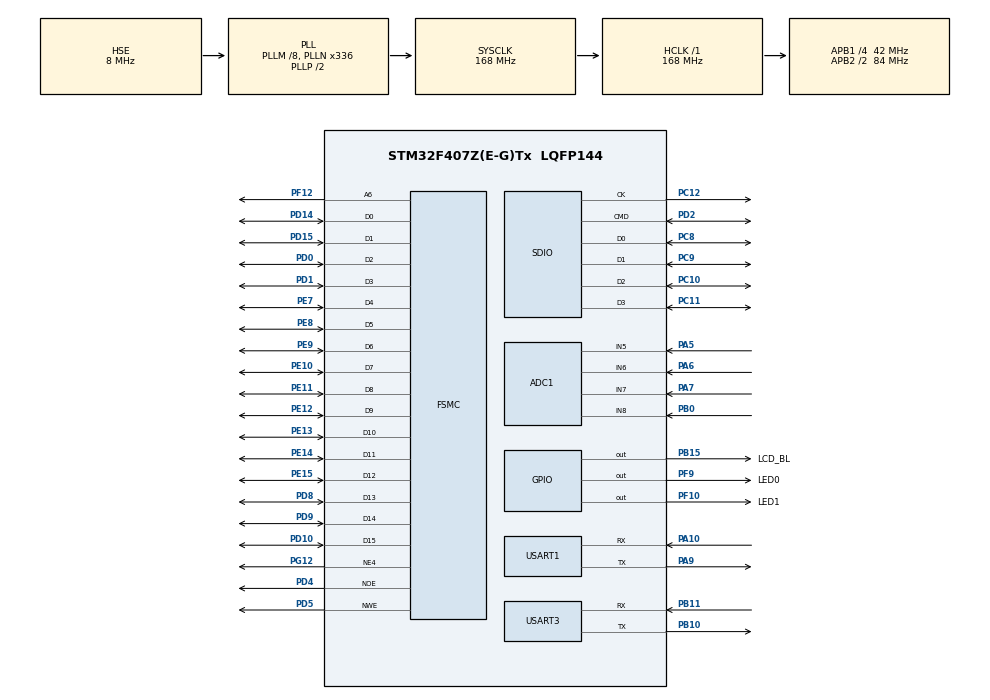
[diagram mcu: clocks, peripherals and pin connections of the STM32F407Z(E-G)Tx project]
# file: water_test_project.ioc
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ADC1.Channel-0\#ChannelRegularConversion=ADC_CHANNEL_5
ADC1.Channel-1\#ChannelRegularConversion=ADC_CHANNEL_6
ADC1.Channel-2\#ChannelRegularConversion=ADC_CHANNEL_7
ADC1.Channel-3\#ChannelRegularConversion=ADC_CHANNEL_8
ADC1.DMAContinuousRequests=ENABLE
ADC1.EOCSelection=ADC_EOC_SEQ_CONV
ADC1.ExternalTrigConv=ADC_EXTERNALTRIGCONV_T3_TRGO
ADC1.NbrOfConversion=4
ADC1.NbrOfConversionFlag=1
ADC1.Rank-0\#ChannelRegularConversion=1
ADC1.Rank-1\#ChannelRegularConversion=2
ADC1.Rank-2\#ChannelRegularConversion=3
ADC1.Rank-3\#ChannelRegularConversion=4
ADC1.SamplingTime-0\#ChannelRegularConversion=ADC_SAMPLETIME_15CYCLES
ADC1.SamplingTime-1\#ChannelRegularConversion=ADC_SAMPLETIME_15CYCLES
ADC1.SamplingTime-2\#ChannelRegularConversion=ADC_SAMPLETIME_15CYCLES
ADC1.SamplingTime-3\#ChannelRegularConversion=ADC_SAMPLETIME_15CYCLES
ADC1.ScanConvMode=ENABLE
ADC1.master=1
Dma.ADC1.0.Direction=DMA_PERIPH_TO_MEMORY
Dma.ADC1.0.FIFOMode=DMA_FIFOMODE_DISABLE
Dma.ADC1.0.Instance=DMA2_Stream0
Dma.ADC1.0.MemDataAlignment=DMA_MDATAALIGN_HALFWORD
Dma.ADC1.0.MemInc=DMA_MINC_ENABLE
Dma.ADC1.0.Mode=DMA_CIRCULAR
Dma.ADC1.0.PeriphDataAlignment=DMA_PDATAALIGN_HALFWORD
Dma.ADC1.0.PeriphInc=DMA_PINC_DISABLE
Dma.ADC1.0.Priority=DMA_PRIORITY_MEDIUM
Dma.Request0=ADC1
Dma.Request1=USART3_TX
Dma.Request2=USART3_RX
Dma.Request3=SDIO_RX
Dma.Request4=SDIO_TX
Dma.SDIO_RX.3.Direction=DMA_PERIPH_TO_MEMORY
Dma.SDIO_RX.3.FIFOMode=DMA_FIFOMODE_ENABLE
Dma.SDIO_RX.3.FIFOThreshold=DMA_FIFO_THRESHOLD_FULL
Dma.SDIO_RX.3.Instance=DMA2_Stream3
Dma.SDIO_RX.3.MemBurst=DMA_MBURST_INC4
Dma.SDIO_RX.3.MemDataAlignment=DMA_MDATAALIGN_WORD
Dma.SDIO_RX.3.MemInc=DMA_MINC_ENABLE
Dma.SDIO_RX.3.Mode=DMA_PFCTRL
Dma.SDIO_RX.3.PeriphBurst=DMA_PBURST_INC4
Dma.SDIO_RX.3.PeriphDataAlignment=DMA_PDATAALIGN_WORD
Dma.SDIO_RX.3.PeriphInc=DMA_PINC_DISABLE
Dma.SDIO_RX.3.Priority=DMA_PRIORITY_LOW
Dma.SDIO_TX.4.Direction=DMA_MEMORY_TO_PERIPH
Dma.SDIO_TX.4.FIFOMode=DMA_FIFOMODE_ENABLE
Dma.SDIO_TX.4.FIFOThreshold=DMA_FIFO_THRESHOLD_FULL
Dma.SDIO_TX.4.Instance=DMA2_Stream6
Dma.SDIO_TX.4.MemBurst=DMA_MBURST_INC4
Dma.SDIO_TX.4.MemDataAlignment=DMA_MDATAALIGN_WORD
Dma.SDIO_TX.4.MemInc=DMA_MINC_ENABLE
Dma.SDIO_TX.4.Mode=DMA_PFCTRL
Dma.SDIO_TX.4.PeriphBurst=DMA_PBURST_INC4
Dma.SDIO_TX.4.PeriphDataAlignment=DMA_PDATAALIGN_WORD
Dma.SDIO_TX.4.PeriphInc=DMA_PINC_DISABLE
Dma.SDIO_TX.4.Priority=DMA_PRIORITY_LOW
Dma.USART3_RX.2.Direction=DMA_PERIPH_TO_MEMORY
Dma.USART3_RX.2.FIFOMode=DMA_FIFOMODE_DISABLE
Dma.USART3_RX.2.Instance=DMA1_Stream1
Dma.USART3_RX.2.MemDataAlignment=DMA_MDATAALIGN_BYTE
Dma.USART3_RX.2.MemInc=DMA_MINC_ENABLE
Dma.USART3_RX.2.Mode=DMA_NORMAL
Dma.USART3_RX.2.PeriphDataAlignment=DMA_PDATAALIGN_BYTE
Dma.USART3_RX.2.PeriphInc=DMA_PINC_DISABLE
Dma.USART3_RX.2.Priority=DMA_PRIORITY_MEDIUM
Dma.USART3_TX.1.Direction=DMA_MEMORY_TO_PERIPH
Dma.USART3_TX.1.FIFOMode=DMA_FIFOMODE_DISABLE
Dma.USART3_TX.1.Instance=DMA1_Stream3
Dma.USART3_TX.1.MemDataAlignment=DMA_MDATAALIGN_BYTE
Dma.USART3_TX.1.MemInc=DMA_MINC_ENABLE
Dma.USART3_TX.1.Mode=DMA_NORMAL
Dma.USART3_TX.1.PeriphDataAlignment=DMA_PDATAALIGN_BYTE
Dma.USART3_TX.1.PeriphInc=DMA_PINC_DISABLE
Dma.USART3_TX.1.Priority=DMA_PRIORITY_MEDIUM
FATFS._CODE_PAGE=936
FATFS._FS_EXFAT=1
FATFS._USE_LFN=2
FREERTOS.Tasks01=taskLED,24,128,appTaskLED,Default,NULL,Dynamic,NULL,NULL;taskADC,40,512,appTaskADC,Default,NULL,Dynamic,NULL,NULL;taskAdcDataProc,39,512,appTaskAdcDataProc,Default,NULL,Dynamic,NULL,NULL;taskDisplay,38,512,appTaskDisplay,Default,NULL,Dynamic,NULL,NULL
FSMC.AddressSetupTime1=0x0F
FSMC.BusTurnAroundDuration1=0
FSMC.DataSetupTime1=60
FSMC.ExtendedAddressSetupTime1=9
FSMC.ExtendedBusTurnAroundDuration1=0
FSMC.ExtendedDataSetupTime1=9
FSMC.ExtendedMode1=FSMC_EXTENDED_MODE_ENABLE
Mcu.Family=STM32F4
Mcu.Name=STM32F407Z(E-G)Tx
Mcu.Package=LQFP144
NVIC.DMA1_Stream1_IRQn=true\:5\:0\:false\:false\:true\:true\:false\:true\:true
NVIC.DMA1_Stream3_IRQn=true\:5\:0\:false\:false\:true\:true\:false\:true\:true
NVIC.DMA2_Stream0_IRQn=true\:5\:0\:false\:false\:true\:true\:false\:true\:true
NVIC.DMA2_Stream3_IRQn=true\:5\:0\:true\:false\:true\:true\:false\:true\:true
NVIC.DMA2_Stream6_IRQn=true\:5\:0\:true\:false\:true\:true\:false\:true\:true
NVIC.PriorityGroup=NVIC_PRIORITYGROUP_4
NVIC.SDIO_IRQn=true\:5\:0\:false\:false\:true\:true\:true\:true\:true
NVIC.TIM6_DAC_IRQn=true\:15\:0\:false\:false\:true\:false\:false\:true\:true
NVIC.TimeBase=TIM6_DAC_IRQn
NVIC.TimeBaseIP=TIM6
NVIC.USART3_IRQn=true\:5\:0\:false\:false\:true\:true\:true\:true\:true
PA10.Mode=Asynchronous
PA10.Signal=USART1_RX
PA13.Mode=Serial_Wire
PA13.Signal=SYS_JTMS-SWDIO
PA14.Mode=Serial_Wire
PA14.Signal=SYS_JTCK-SWCLK
PA5.Signal=ADCx_IN5
PA6.Signal=ADCx_IN6
PA7.Signal=ADCx_IN7
PA9.Mode=Asynchronous
PA9.Signal=USART1_TX
PB0.Signal=ADCx_IN8
PB10.Mode=Asynchronous
PB10.Signal=USART3_TX
PB11.Mode=Asynchronous
PB11.Signal=USART3_RX
PB15.GPIO_Label=LCD_BL
PB15.Signal=GPIO_Output
PC10.Mode=SD_4_bits_Wide_bus
PC10.Signal=SDIO_D2
PC11.Mode=SD_4_bits_Wide_bus
PC11.Signal=SDIO_D3
PC12.Mode=SD_4_bits_Wide_bus
PC12.Signal=SDIO_CK
PC8.Mode=SD_4_bits_Wide_bus
PC8.Signal=SDIO_D0
PC9.Mode=SD_4_bits_Wide_bus
PC9.Signal=SDIO_D1
PD0.Signal=FSMC_D2_DA2
PD1.Signal=FSMC_D3_DA3
PD10.Signal=FSMC_D15_DA15
PD14.Signal=FSMC_D0_DA0
PD15.Signal=FSMC_D1_DA1
PD2.Mode=SD_4_bits_Wide_bus
PD2.Signal=SDIO_CMD
PD4.Signal=FSMC_NOE
PD5.Signal=FSMC_NWE
PD8.Signal=FSMC_D13_DA13
PD9.Signal=FSMC_D14_DA14
PE10.Signal=FSMC_D7_DA7
PE11.Signal=FSMC_D8_DA8
PE12.Signal=FSMC_D9_DA9
PE13.Signal=FSMC_D10_DA10
PE14.Signal=FSMC_D11_DA11
PE15.Signal=FSMC_D12_DA12
PE7.Signal=FSMC_D4_DA4
PE8.Signal=FSMC_D5_DA5
PE9.Signal=FSMC_D6_DA6
PF10.GPIO_Label=LED1
PF10.PinState=GPIO_PIN_SET
PF10.Signal=GPIO_Output
PF12.Signal=FSMC_A6
PF9.GPIO_Label=LED0
PF9.PinState=GPIO_PIN_SET
PF9.Signal=GPIO_Output
PG12.Mode=NorPsramChipSelect4_1
PG12.Signal=FSMC_NE4
PH0-OSC_IN.Mode=HSE-External-Oscillator
PH0-OSC_IN.Signal=RCC_OSC_IN
PH1-OSC_OUT.Mode=HSE-External-Oscillator
PH1-OSC_OUT.Signal=RCC_OSC_OUT
ProjectManager.HeapSize=0x1200
ProjectManager.StackSize=0x1400
ProjectManager.TargetToolchain=MDK-ARM V5.32
RCC.48MHZClocksFreq_Value=48000000
RCC.AHBFreq_Value=168000000
RCC.APB1CLKDivider=RCC_HCLK_DIV4
RCC.APB1Freq_Value=42000000
RCC.APB1TimFreq_Value=84000000
RCC.APB2CLKDivider=RCC_HCLK_DIV2
RCC.APB2Freq_Value=84000000
RCC.APB2TimFreq_Value=168000000
RCC.CortexFreq_Value=168000000
RCC.HCLKFreq_Value=168000000
RCC.HSE_VALUE=8000000
RCC.HSI_VALUE=16000000
RCC.LSE_VALUE=32768
RCC.PLLM=8
RCC.PLLN=336
RCC.PLLQ=7
RCC.PLLSourceVirtual=RCC_PLLSOURCE_HSE
RCC.RCC_RTC_Clock_SourceVirtual=RCC_RTCCLKSOURCE_HSE_DIV8
RCC.RCC_RTC_Clock_Source_FROM_HSE=RCC_RTCCLKSOURCE_HSE_DIV8
RCC.SYSCLKFreq_VALUE=168000000
RCC.SYSCLKSource=RCC_SYSCLKSOURCE_PLLCLK
RCC.VCOOutputFreq_Value=336000000
SH.ADCx_IN5.0=ADC1_IN5,IN5
SH.ADCx_IN6.0=ADC1_IN6,IN6
SH.ADCx_IN7.0=ADC1_IN7,IN7
SH.ADCx_IN8.0=ADC1_IN8,IN8
SH.FSMC_A6.0=FSMC_A6,A6_1
SH.FSMC_D0_DA0.0=FSMC_D0,16b-d1
SH.FSMC_D10_DA10.0=FSMC_D10,16b-d1
SH.FSMC_D11_DA11.0=FSMC_D11,16b-d1
SH.FSMC_D12_DA12.0=FSMC_D12,16b-d1
SH.FSMC_D13_DA13.0=FSMC_D13,16b-d1
SH.FSMC_D14_DA14.0=FSMC_D14,16b-d1
SH.FSMC_D15_DA15.0=FSMC_D15,16b-d1
SH.FSMC_D1_DA1.0=FSMC_D1,16b-d1
SH.FSMC_D2_DA2.0=FSMC_D2,16b-d1
SH.FSMC_D3_DA3.0=FSMC_D3,16b-d1
SH.FSMC_D4_DA4.0=FSMC_D4,16b-d1
SH.FSMC_D5_DA5.0=FSMC_D5,16b-d1
SH.FSMC_D6_DA6.0=FSMC_D6,16b-d1
SH.FSMC_D7_DA7.0=FSMC_D7,16b-d1
SH.FSMC_D8_DA8.0=FSMC_D8,16b-d1
SH.FSMC_D9_DA9.0=FSMC_D9,16b-d1
SH.FSMC_NOE.0=FSMC_NOE,Lcd1
SH.FSMC_NWE.0=FSMC_NWE,Lcd1
TIM3.Period=999
TIM3.Prescaler=8399
TIM3.TIM_MasterOutputTrigger=TIM_TRGO_UPDATE
USART1.VirtualMode=VM_ASYNC
USART3.VirtualMode=VM_ASYNC
VP_FATFS_VS_SDIO.Mode=SDIO
VP_FREERTOS_VS_CMSIS_V2.Mode=CMSIS_V2
VP_SYS_VS_tim6.Mode=TIM6
VP_TIM3_VS_ClockSourceINT.Mode=Internal
board=custom

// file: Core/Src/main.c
/* USER CODE BEGIN Header */
/**
 ******************************************************************************
 * @file           : main.c
 * @brief          : Main program body
 ******************************************************************************
 * @attention
 *
 * Copyright (c) 2026 STMicroelectronics.
 * All rights reserved.
 *
 * This software is licensed under terms that can be found in the LICENSE file
 * in the root directory of this software component.
 * If no LICENSE file comes with this software, it is provided AS-IS.
 *
 ******************************************************************************
 */
/* USER CODE END Header */
#include "main.h"
#include "cmsis_os.h"
#include "adc.h"
#include "dma.h"
#include "fatfs.h"
#include "sdio.h"
#include "tim.h"
#include "usart.h"
#include "gpio.h"
#include "fsmc.h"

/* USER CODE BEGIN Includes */
#include "stdio.h"
#include "led.h"
#include "task.h"
#include "lcd.h"
#include "adc_ui.h"
#include "24cxx.h"
#include "queue.h"
#include "semphr.h"
#include "screenTxTask.h"
#include "screenRxTask.h"
#include <string.h>
#include "key.h"
/* USER CODE END Includes */

void SystemClock_Config(void);
void MX_FREERTOS_Init(void);

/* USER CODE BEGIN 0 */
int fputc(int ch, FILE *f)
{
    HAL_UART_Transmit(&huart1, (uint8_t *)&ch, 1, HAL_MAX_DELAY);
    return ch;
}

uint8_t key;

/* USER CODE END 0 */

int main(void)
{

  /* MCU Configuration--------------------------------------------------------*/

  /* Reset of all peripherals, Initializes the Flash interface and the Systick. */
  HAL_Init();

  /* Configure the system clock */
  SystemClock_Config();

  /* Initialize all configured peripherals */

    MX_GPIO_Init();
    MX_DMA_Init();
    MX_USART1_UART_Init();
	MX_TIM3_Init();
	MX_ADC1_Init();
    MX_FSMC_Init();
	MX_USART3_UART_Init();
	MX_SDIO_SD_Init();
	MX_FATFS_Init();

  /* Init scheduler */
  osKernelInitialize();
  MX_FREERTOS_Init();

  /* Start scheduler */
  osKernelStart();

  /* We should never get here as control is now taken by the scheduler */

  /* Infinite loop */
  /* USER CODE BEGIN WHILE */
    while (1)
    {
    }
  /* USER CODE END 3 */
}

void SystemClock_Config(void)
{
  RCC_OscInitTypeDef RCC_OscInitStruct = {0};
  RCC_ClkInitTypeDef RCC_ClkInitStruct = {0};

  /** Configure the main internal regulator output voltage
  */
  __HAL_RCC_PWR_CLK_ENABLE();
  __HAL_PWR_VOLTAGESCALING_CONFIG(PWR_REGULATOR_VOLTAGE_SCALE1);

  /** Initializes the RCC Oscillators according to the specified parameters
  * in the RCC_OscInitTypeDef structure.
  */
  RCC_OscInitStruct.OscillatorType = RCC_OSCILLATORTYPE_HSE;
  RCC_OscInitStruct.HSEState = RCC_HSE_ON;
  RCC_OscInitStruct.PLL.PLLState = RCC_PLL_ON;
  RCC_OscInitStruct.PLL.PLLSource = RCC_PLLSOURCE_HSE;
  RCC_OscInitStruct.PLL.PLLM = 8;
  RCC_OscInitStruct.PLL.PLLN = 336;
  RCC_OscInitStruct.PLL.PLLP = RCC_PLLP_DIV2;
  RCC_OscInitStruct.PLL.PLLQ = 7;
  if (HAL_RCC_OscConfig(&RCC_OscInitStruct) != HAL_OK)
  {
    Error_Handler();
  }

  /** Initializes the CPU, AHB and APB buses clocks
  */
  RCC_ClkInitStruct.ClockType = RCC_CLOCKTYPE_HCLK|RCC_CLOCKTYPE_SYSCLK
                              |RCC_CLOCKTYPE_PCLK1|RCC_CLOCKTYPE_PCLK2;
  RCC_ClkInitStruct.SYSCLKSource = RCC_SYSCLKSOURCE_PLLCLK;
  RCC_ClkInitStruct.AHBCLKDivider = RCC_SYSCLK_DIV1;
  RCC_ClkInitStruct.APB1CLKDivider = RCC_HCLK_DIV4;
  RCC_ClkInitStruct.APB2CLKDivider = RCC_HCLK_DIV2;

  if (HAL_RCC_ClockConfig(&RCC_ClkInitStruct, FLASH_LATENCY_5) != HAL_OK)
  {
    Error_Handler();
  }
}

/* USER CODE BEGIN 4 */
/* Conversion Complete Callback 转换完成回调*/
void HAL_ADC_ConvCpltCallback(ADC_HandleTypeDef *hadc)
{
    BaseType_t xHigherPriorityTaskWoken = pdFALSE;

    if (hadc->Instance == ADC1)
    {
        vTaskNotifyGiveFromISR(xMyAdcTaskHandle, &xHigherPriorityTaskWoken);
        portYIELD_FROM_ISR(xHigherPriorityTaskWoken);
    }
}

void HAL_UART_TxCpltCallback(UART_HandleTypeDef *huart)
{
    BaseType_t xHigherPriorityTaskWoken = pdFALSE;

    if (huart->Instance == USART3)
    {
        // 这个信号量在释放前，一定要先存在，建立
        if (screenTxDoneSem != NULL)
        {
            // 在中断上下文中释放信号量，必须需要+ISR后缀的函数
            xSemaphoreGiveFromISR(screenTxDoneSem, &xHigherPriorityTaskWoken);
            // 如果刚才释放信号量唤醒了一个更高优先级的任务，就立刻请求一次任务切换，切换中更高级的任务
            portYIELD_FROM_ISR(xHigherPriorityTaskWoken);
        }
    }
}

void HAL_UARTEx_RxEventCallback(UART_HandleTypeDef *huart, uint16_t Size)
{
    BaseType_t xHigherPriorityTaskWoken = pdFALSE;

    if (huart->Instance == USART3)
    {
        ScreenRxMsg_t msg;

        /*限制最大的接收长度，防止溢出报错*/
        if (Size > SCREEN_RX_DMA_SIZE)
        {
            Size = SCREEN_RX_DMA_SIZE;
        }

        /*复制缓存区的数据到msg结构体*/
        memcpy(msg.data, screenRxDmaBuf, Size);
        msg.len = Size;

        /*发给接收队列*/
        xQueueSendFromISR(screenRxQueue,
                          &msg,
                          &xHigherPriorityTaskWoken);

        /*重新启动下一次 DMA + IDLE 接收*/
        HAL_UARTEx_ReceiveToIdle_DMA(&huart3,
                                     screenRxDmaBuf,
                                     SCREEN_RX_DMA_SIZE);

        __HAL_DMA_DISABLE_IT(huart3.hdmarx, DMA_IT_HT);

        /*切换中断上下文*/
        portYIELD_FROM_ISR(xHigherPriorityTaskWoken);
    }
}
/* USER CODE END 4 */

void HAL_TIM_PeriodElapsedCallback(TIM_HandleTypeDef *htim)
{
  if (htim->Instance == TIM6)
  {
    HAL_IncTick();
  }
}

void Error_Handler(void)
{
    __disable_irq();
    while (1)
    {
    }
}

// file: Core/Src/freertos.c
/* USER CODE BEGIN Header */
/**
 ******************************************************************************
 * File Name          : freertos.c
 * Description        : Code for freertos applications
 ******************************************************************************
 * @attention
 *
 * Copyright (c) 2026 STMicroelectronics.
 * All rights reserved.
 *
 * This software is licensed under terms that can be found in the LICENSE file
 * in the root directory of this software component.
 * If no LICENSE file comes with this software, it is provided AS-IS.
 *
 ******************************************************************************
 */
/* USER CODE END Header */

#include "FreeRTOS.h"
#include "task.h"
#include "main.h"
#include "cmsis_os.h"

/* USER CODE BEGIN Includes */
#include "led.h"
#include "stdio.h"
#include "adcTask.h"
#include "adcDataProcTask.h"
#include "displayTask.h"
#include "screenTxTask.h"
#include "screenRxTask.h"
#include "storageTask.h"
#include "rtc.h"
#include "canTxTask.h"
#include "canRxTask.h"
/* USER CODE END Includes */

/* Definitions for taskLED */
osThreadId_t taskLEDHandle;
const osThreadAttr_t taskLED_attributes = {
    .name = "taskLED",
    .stack_size = 128 * 24,
    .priority = (osPriority_t)osPriorityNormal,
};
/* Definitions for taskADC */
osThreadId_t taskADCHandle;
const osThreadAttr_t taskADC_attributes = {
    .name = "taskADC",
    .stack_size = 512 * 4,
    .priority = (osPriority_t)osPriorityHigh,
};
/* Definitions for taskAdcDataProc */
osThreadId_t taskAdcDataProcHandle;
const osThreadAttr_t taskAdcDataProc_attributes = {
    .name = "taskAdcDataProc",
    .stack_size = 512 * 4,
    .priority = (osPriority_t)osPriorityAboveNormal7,
};
/* Definitions for taskDisplay */
osThreadId_t taskDisplayHandle;
const osThreadAttr_t taskDisplay_attributes = {
    .name = "taskDisplay",
    .stack_size = 512 * 4,
    .priority = (osPriority_t)osPriorityAboveNormal6,
};
/* Definitions for taskScreenTx */
osThreadId_t taskScreenTxHandle;
const osThreadAttr_t taskScreenTx_attributes = {
    .name = "taskScreenTx",
    .stack_size = 512 * 4,
    .priority = (osPriority_t)osPriorityAboveNormal1,
};
/* Definitions for taskScreenRx */
osThreadId_t taskScreenRxHandle;
const osThreadAttr_t taskScreenRx_attributes = {
    .name = "taskScreenRx",
    .stack_size = 512 * 4,
    .priority = (osPriority_t)osPriorityAboveNormal2,
};
/* Definitions for taskStorage */
osThreadId_t taskStorageHandle;
const osThreadAttr_t taskStorage_attributes = {
    .name = "taskStorage",
    .stack_size = 512 * 8,
    .priority = (osPriority_t)osPriorityAboveNormal2,
};
/* Definitions for taskCanTx */
osThreadId_t taskCanTxHandle;
const osThreadAttr_t taskCanTx_attributes = {
    .name = "taskCanTx",
    .stack_size = 512 * 8,
    .priority = (osPriority_t)osPriorityAboveNormal3,
};
/* Definitions for taskCanRx */
osThreadId_t taskCanRxHandle;
const osThreadAttr_t taskCanRx_attributes = {
    .name = "taskCanRx",
    .stack_size = 512 * 8,
    .priority = (osPriority_t)osPriorityAboveNormal4,
};

void appTaskLED(void *argument);
void appTaskADC(void *argument);
void appTaskAdcDataProc(void *argument);
void appTaskDisplay(void *argument);
void appTaskScreenTx(void *argument);
void appTaskScreenRx(void *argument);
void appTaskStorage(void *argument);
void appTaskCanTx(void *argument);
void appTaskCanRx(void *argument);

void MX_FREERTOS_Init(void); /* (MISRA C 2004 rule 8.1) */

void MX_FREERTOS_Init(void)
{

    /* USER CODE BEGIN RTOS_QUEUES */
    /* add queues, ... */

    AdcTask_Init();
    AdcDataProcTask_Init();
    ScreenTx_Init();
    ScreenRx_Init();
    Storage_Init();
    CanTxTask_Init();
    CanRxTask_Init();

    /* USER CODE END RTOS_QUEUES */

    /* Create the thread(s) */
    /* creation of taskLED */
    taskLEDHandle = osThreadNew(appTaskLED, NULL, &taskLED_attributes);

    /* creation of taskADC */
    taskADCHandle = osThreadNew(appTaskADC, NULL, &taskADC_attributes);

    /* creation of taskAdcDataProc */
    taskAdcDataProcHandle = osThreadNew(appTaskAdcDataProc, NULL, &taskAdcDataProc_attributes);

    /* creation of taskDisplay */
    taskDisplayHandle = osThreadNew(appTaskDisplay, NULL, &taskDisplay_attributes);

    /* creation of taskScreenTx */
    taskScreenTxHandle = osThreadNew(appTaskScreenTx, NULL, &taskScreenTx_attributes);

    /* creation of taskScreenRx */
    taskScreenRxHandle = osThreadNew(appTaskScreenRx, NULL, &taskScreenRx_attributes);

    /* creation of taskStorage */
    taskStorageHandle = osThreadNew(appTaskStorage, NULL, &taskStorage_attributes);

	/* creation of taskCanTx */
    taskCanTxHandle = osThreadNew(appTaskCanTx, NULL, &taskCanTx_attributes);

    /* creation of taskCanRx */
    taskCanRxHandle = osThreadNew(appTaskCanRx, NULL, &taskCanRx_attributes);

}

void appTaskLED(void *argument)
{
    /* USER CODE BEGIN appTaskLED */
    /* Infinite loop */
    RTC_TimeTypeDef RTC_TimeStruct;
    RTC_DateTypeDef RTC_DateStruct;
    u8 tbuf[40];

    RTC_Init();
    lcd_init();

    for (;;)
    {
        HAL_RTC_GetTime(&RTC_Handler, &RTC_TimeStruct, RTC_FORMAT_BIN);
        sprintf((char *)tbuf, "Time:%02d:%02d:%02d", RTC_TimeStruct.Hours, RTC_TimeStruct.Minutes, RTC_TimeStruct.Seconds);
        lcd_show_string(30, 10, 210, 16, 32, (char *)tbuf, BLUE);
        HAL_RTC_GetDate(&RTC_Handler, &RTC_DateStruct, RTC_FORMAT_BIN);
        sprintf((char *)tbuf, "Date:20%02d-%02d-%02d", RTC_DateStruct.Year, RTC_DateStruct.Month, RTC_DateStruct.Date);
        lcd_show_string(30, 50, 300, 16, 32, (char *)tbuf, BLUE);
        sprintf((char *)tbuf, "Week:%d", RTC_DateStruct.WeekDay);
        lcd_show_string(30, 90, 210, 16, 32, (char *)tbuf, BLUE);
        sprintf((char *)tbuf, "Page:%s       ", textStrings[currentPage]);
        lcd_show_string(30, 130, 300, 16, 32, (char *)tbuf, BLUE);
        sprintf((char *)tbuf, "Storage:%s", isRecording ? "ON " : "OFF");
        lcd_show_string(30, 170, 300, 16, 32, (char *)tbuf, BLUE);
        sprintf((char *)tbuf, "Sto_Num:%d", isRecording ? storage_count : 0);
        lcd_show_string(30, 210, 300, 16, 32, (char *)tbuf, BLUE);
        osDelay(1000);
    }
    /* USER CODE END appTaskLED */
}

void appTaskADC(void *argument)
{
    /* USER CODE BEGIN appTaskADC */
    AdcTask_Run(argument);
    /* USER CODE END appTaskADC */
}

void appTaskAdcDataProc(void *argument)
{
    /* USER CODE BEGIN appTaskAdcDataProc */
    AdcDataProcTask_Run(argument);
    /* USER CODE END appTaskAdcDataProc */
}

void appTaskDisplay(void *argument)
{
    /* USER CODE BEGIN appTaskDisplay */
    DisplayTask_Run(argument);
    /* USER CODE END appTaskDisplay */
}

void appTaskScreenTx(void *argument)
{
    /* USER CODE BEGIN appTaskScreenTx */
    ScreenTx_Task(argument);
    /* USER CODE END appTaskScreenTx */
}

void appTaskScreenRx(void *argument)
{
    /* USER CODE BEGIN appTaskScreenRx */
    ScreenRx_Task(argument);
    /* USER CODE END appTaskScreenRx */
}

void appTaskStorage(void *argument)
{
    /* USER CODE BEGIN appTaskScreenRx */
    Storage_Task(argument);
    /* USER CODE END appTaskScreenRx */
}

void appTaskCanTx(void *argument)
{
	CanTxTask_Run(argument);
}

void appTaskCanRx(void *argument)
{
	CanRxTask_Run(argument);
}
